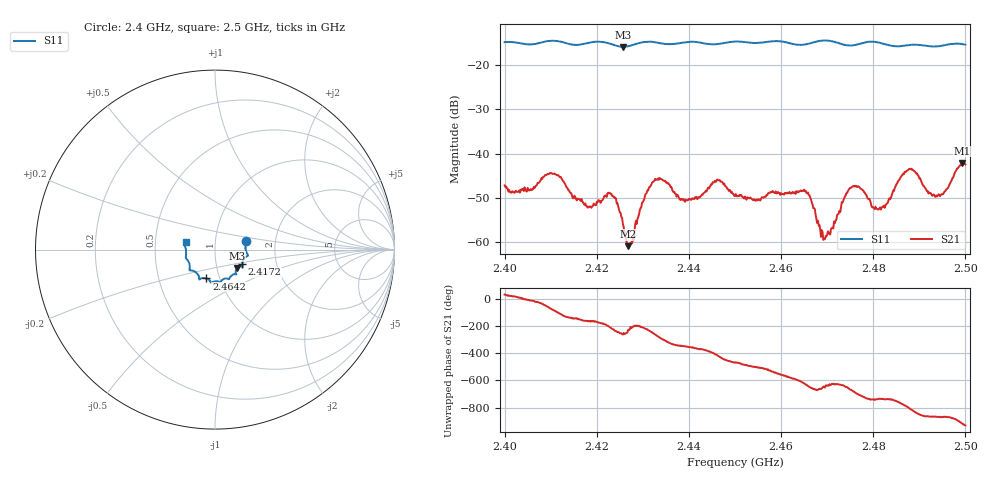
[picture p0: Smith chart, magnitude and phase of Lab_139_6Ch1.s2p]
# Hz S RI R 50
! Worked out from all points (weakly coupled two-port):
!   601 points, 2.4 GHz to 2.5 GHz, reference 50 ohm
!   highest |S21| = -42.09 dB at 2.4993 GHz (marker M1); lowest = -60.8 dB at 2.4268 GHz (marker M2)
!   lowest |S11| = -15.9 dB at 2.4257 GHz (marker M3), VSWR 1.38, Z = 62.4 - j13.1 ohm
!   |S11| at or under -10 dB: start of sweep to end of sweep
!   S12 and S22 are empty: the file has one direction only
!   S11 on the Smith chart (normalised r, x): 2.4 GHz: 1.41, +0.14; 2.4172 GHz: 1.34, -0.22; 2.4642 GHz: 0.86, -0.29; 2.5 GHz: 0.72, +0.06
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2.4e9  0.1734 0.0497  0.00375 0.00228  0 0  0 0
2.410333e9  0.1839 -0.0332  0.00109 -0.00583  0 0  0 0
2.416667e9  0.1527 -0.075  -0.00282 -0.00128  0 0  0 0
2.417167e9  0.1521 -0.0806  -0.00259 -0.000881  0 0  0 0
2.423e9  0.1452 -0.0933  -0.00296 0.00193  0 0  0 0
2.425667e9  0.1224 -0.1025  -0.000196 0.0016  0 0  0 0
2.426833e9  0.1169 -0.1127  -0.000618 0.000664  0 0  0 0
2.430833e9  0.1191 -0.1379  -0.00261 0.00249  0 0  0 0
2.433333e9  0.1127 -0.1366  0.000639 0.00523  0 0  0 0
2.438667e9  0.0815 -0.1583  0.00295 0.000666  0 0  0 0
2.446167e9  0.0461 -0.1654  0.00281 -0.00428  0 0  0 0
2.45e9  0.0297 -0.1808  -0.000953 -0.0032  0 0  0 0
2.464167e9  -0.048 -0.161  -0.00151 0.00348  0 0  0 0
2.466667e9  -0.0762 -0.1599  0.00124 0.00254  0 0  0 0
2.4695e9  -0.0877 -0.1668  0.000414 0.001  0 0  0 0
2.475333e9  -0.1099 -0.1237  0.00278 0.00315  0 0  0 0
2.480667e9  -0.1425 -0.1111  0.00229 -0.000758  0 0  0 0
2.483333e9  -0.1407 -0.0895  0.00286 -0.000902  0 0  0 0
2.4875e9  -0.1581 -0.0534  0.0015 -0.00632  0 0  0 0
2.494e9  -0.1617 -0.00117  -0.00285 -0.00177  0 0  0 0
2.499333e9  -0.1671 0.0378  -0.00751 0.00232  0 0  0 0
2.5e9  -0.1637 0.0418  -0.00648 0.00389  0 0  0 0
